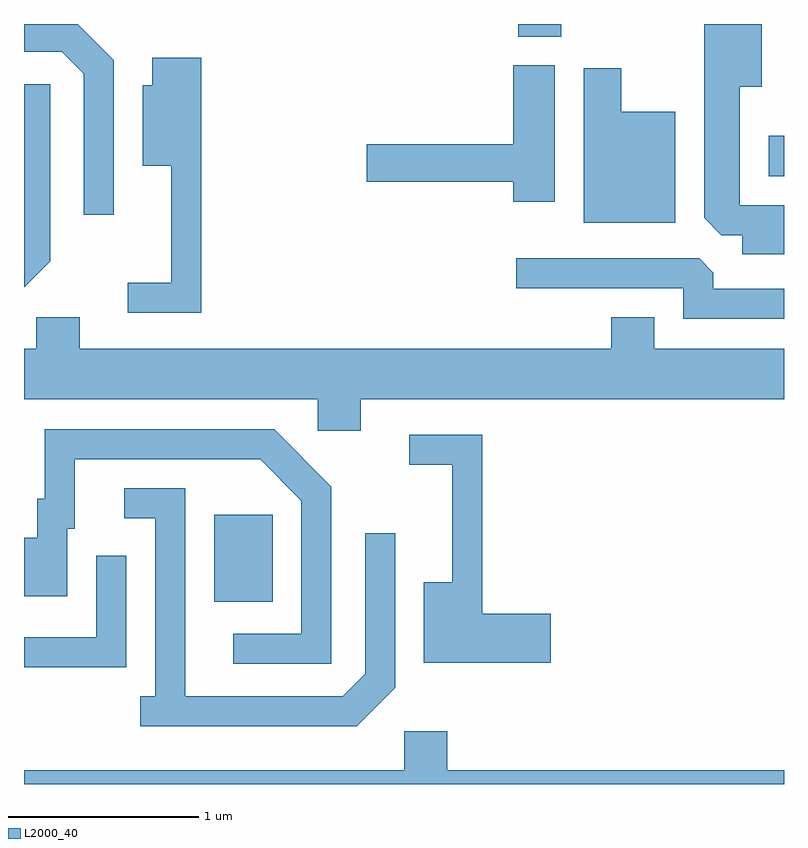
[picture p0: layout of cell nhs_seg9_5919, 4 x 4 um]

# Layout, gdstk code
import gdstk
lib = gdstk.Library(unit=1e-6, precision=1e-09)
def R(c, l, rs):  # rectangles x0, y0, x1, y1
    for r in rs: c.add(gdstk.rectangle(r[:2], r[2:], *l))
def P(c, l, *ps):  # polygons
    for p in ps: c.add(gdstk.Polygon(p, *l))
L2000_40 = (2000, 40)

nhs_seg9_5919 = lib.new_cell('nhs_seg9_5919')
R(nhs_seg9_5919, L2000_40, [(360.611,2017.391,360.919,2017.849), (363.531,2019.631,363.611,2019.844), (362.211,2020.366,362.439,2020.432)])
P(nhs_seg9_5919, L2000_40, [(360.084,2020.242),(359.894,2020.432),(359.611,2020.432),(359.611,2020.286),(359.809,2020.286),(359.926,2020.169),(359.926,2019.428),(360.084,2019.428)],
  [(363.611,2019.479),(363.379,2019.479),(363.379,2020.101),(363.494,2020.101),(363.494,2020.432),(363.191,2020.432),(363.191,2019.412),(363.282,2019.321),(363.391,2019.321),(363.391,2019.221),(363.611,2019.221)],
  [(360.544,2020.254),(360.286,2020.254),(360.286,2020.109),(360.236,2020.109),(360.236,2019.686),(360.386,2019.686),(360.386,2019.069),(360.158,2019.069),(360.158,2018.911),(360.544,2018.911)],
  [(362.404,2020.214),(362.186,2020.214),(362.186,2019.799),(361.416,2019.799),(361.416,2019.601),(362.186,2019.601),(362.186,2019.496),(362.404,2019.496)],
  [(363.039,2019.969),(362.754,2019.969),(362.754,2020.199),(362.556,2020.199),(362.556,2019.386),(363.039,2019.386)],
  [(359.749,2019.184),(359.749,2020.114),(359.611,2020.114),(359.611,2019.046)],
  [(363.611,2019.039),(363.239,2019.039),(363.239,2019.124),(363.164,2019.199),(362.203,2019.199),(362.203,2019.041),(363.081,2019.041),(363.081,2018.881),(363.611,2018.881)],
  [(361.384,2018.456),(363.611,2018.456),(363.611,2018.724),(362.929,2018.724),(362.929,2018.889),(362.701,2018.889),(362.701,2018.724),(359.904,2018.724),(359.904,2018.889),(359.676,2018.889),(359.676,2018.724),(359.611,2018.724),(359.611,2018.456),(361.156,2018.456),(361.156,2018.291),(361.384,2018.291)],
  [(361.229,2017.997),(360.927,2018.299),(359.721,2018.299),(359.721,2017.934),(359.681,2017.934),(359.681,2017.729),(359.611,2017.729),(359.611,2017.421),(359.839,2017.421),(359.839,2017.776),(359.879,2017.776),(359.879,2018.141),(360.854,2018.141),(361.071,2017.924),(361.071,2017.224),(360.713,2017.224),(360.713,2017.066),(361.229,2017.066)],
  [(362.384,2017.329),(362.024,2017.329),(362.024,2018.269),(361.638,2018.269),(361.638,2018.111),(361.866,2018.111),(361.866,2017.494),(361.716,2017.494),(361.716,2017.071),(362.384,2017.071)],
  [(361.564,2016.939),(361.564,2017.753),(361.406,2017.753),(361.406,2017.012),(361.289,2016.894),(360.459,2016.894),(360.459,2017.989),(360.138,2017.989),(360.138,2017.831),(360.301,2017.831),(360.301,2016.894),(360.223,2016.894),(360.223,2016.736),(361.362,2016.736)],
  [(360.149,2017.633),(359.991,2017.633),(359.991,2017.204),(359.611,2017.204),(359.611,2017.046),(360.149,2017.046)],
  [(363.611,2016.504),(361.839,2016.504),(361.839,2016.709),(361.611,2016.709),(361.611,2016.504),(359.611,2016.504),(359.611,2016.432),(363.611,2016.432)])

lib.write_gds('nhs_seg9_5919.gds')
